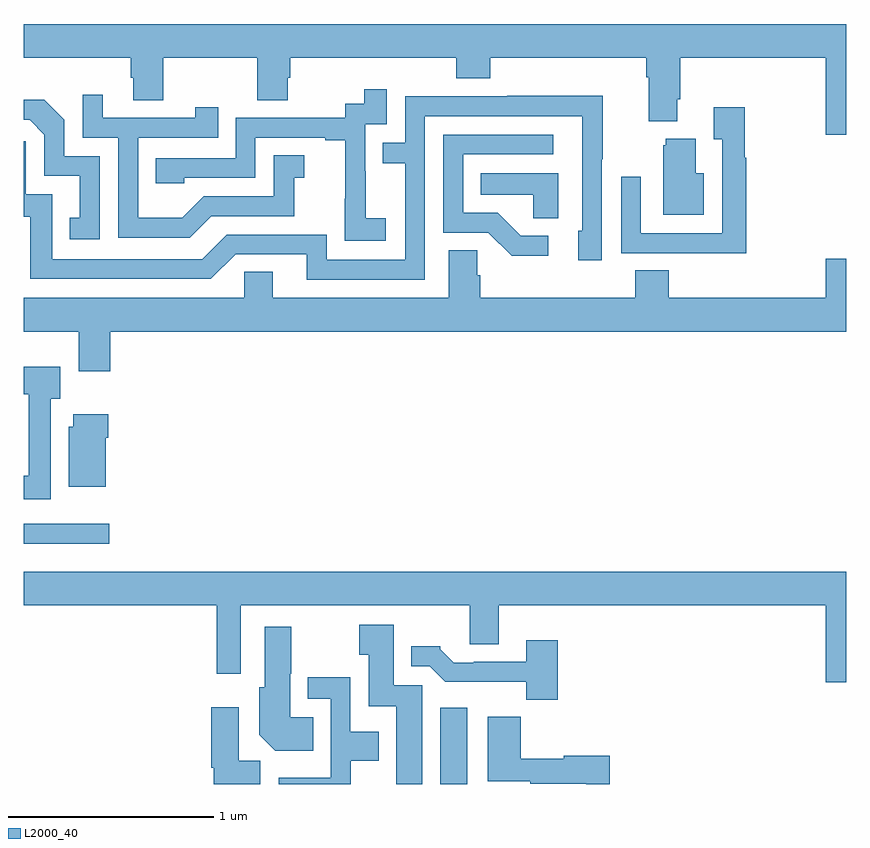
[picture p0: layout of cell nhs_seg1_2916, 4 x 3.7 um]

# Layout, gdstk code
import gdstk
lib = gdstk.Library(unit=1e-6, precision=1e-09)
def R(c, l, rs):  # rectangles x0, y0, x1, y1
    for r in rs: c.add(gdstk.rectangle(r[:2], r[2:], *l))
def P(c, l, *ps):  # polygons
    for p in ps: c.add(gdstk.Polygon(p, *l))
L2000_40 = (2000, 40)

nhs_seg1_2916 = lib.new_cell('nhs_seg1_2916')
R(nhs_seg1_2916, L2000_40, [(271.025,548.199,271.156,548.569), (269,549.368,269.416,549.465)])
P(nhs_seg1_2916, L2000_40, [(273,551.896),(269,551.896),(269,551.732),(269.519,551.732),(269.519,551.634),(269.531,551.634),(269.531,551.524),(269.679,551.524),(269.679,551.732),(270.136,551.732),(270.136,551.524),(270.283,551.524),(270.283,551.634),(270.296,551.634),(270.296,551.732),(271.103,551.732),(271.103,551.633),(271.268,551.633),(271.268,551.732),(272.027,551.732),(272.027,551.636),(272.039,551.636),(272.039,551.423),(272.179,551.423),(272.179,551.53),(272.192,551.53),(272.192,551.732),(272.9,551.732),(272.9,551.358),(273,551.358)],
  [(270.76,550.951),(270.662,550.951),(270.662,551.18),(270.66,551.18),(270.66,551.409),(270.765,551.409),(270.765,551.578),(270.657,551.578),(270.657,551.508),(270.564,551.508),(270.564,551.439),(270.03,551.439),(270.03,551.244),(269.641,551.244),(269.641,551.121),(269.781,551.121),(269.781,551.148),(270.126,551.148),(270.126,551.343),(270.467,551.343),(270.467,551.331),(270.563,551.331),(270.563,551.047),(270.562,551.047),(270.562,550.841),(270.76,550.841)],
  [(269.911,550.962),(270.315,550.962),(270.315,551.147),(270.364,551.147),(270.364,551.257),(270.216,551.257),(270.216,551.058),(269.874,551.058),(269.77,550.954),(269.556,550.954),(269.556,551.343),(269.945,551.343),(269.945,551.491),(269.834,551.491),(269.834,551.439),(269.383,551.439),(269.383,551.551),(269.286,551.551),(269.286,551.343),(269.46,551.343),(269.46,550.857),(269.806,550.857)],
  [(270.951,551.448),(271.716,551.448),(271.716,550.89),(271.697,550.89),(271.697,550.746),(271.812,550.746),(271.812,551.239),(271.815,551.239),(271.815,551.546),(271.351,551.546),(271.351,551.544),(270.855,551.544),(270.855,551.319),(270.745,551.319),(270.745,551.218),(270.855,551.218),(270.855,550.749),(270.474,550.749),(270.474,550.872),(269.988,550.872),(269.868,550.752),(269.139,550.752),(269.139,551.067),(269.01,551.067),(269.01,551.326),(269,551.326),(269,550.959),(269.031,550.959),(269.031,550.656),(269.91,550.656),(270.03,550.776),(270.377,550.776),(270.377,550.653),(270.951,550.653)],
  [(269.37,551.253),(269.196,551.253),(269.196,551.43),(269.098,551.528),(269,551.528),(269,551.43),(269.028,551.43),(269.1,551.358),(269.1,551.157),(269.273,551.157),(269.273,550.953),(269.224,550.953),(269.224,550.848),(269.37,550.848)],
  [(272.513,551.246),(272.506,551.246),(272.506,551.491),(272.357,551.491),(272.357,551.335),(272.397,551.335),(272.397,550.878),(272.001,550.878),(272.001,551.152),(271.905,551.152),(271.905,550.782),(272.221,550.782),(272.221,550.781),(272.513,550.781)],
  [(271.552,550.866),(271.417,550.866),(271.306,550.977),(271.137,550.977),(271.137,551.262),(271.576,551.262),(271.576,551.358),(271.041,551.358),(271.041,550.881),(271.26,550.881),(271.373,550.769),(271.552,550.769)],
  [(272.308,551.17),(272.269,551.17),(272.269,551.338),(272.123,551.338),(272.123,551.307),(272.111,551.307),(272.111,550.967),(272.308,550.967)],
  [(271.6,551.17),(271.222,551.17),(271.222,551.066),(271.479,551.066),(271.479,550.951),(271.6,550.951)],
  [(269.42,550.4),(273,550.4),(273,550.753),(272.9,550.753),(272.9,550.564),(272.138,550.564),(272.138,550.697),(271.973,550.697),(271.973,550.564),(271.22,550.564),(271.22,550.673),(271.206,550.673),(271.206,550.796),(271.067,550.796),(271.067,550.564),(270.211,550.564),(270.211,550.691),(270.072,550.691),(270.072,550.564),(269,550.564),(269,550.4),(269.267,550.4),(269.267,550.206),(269.42,550.206)],
  [(269.131,550.074),(269.176,550.074),(269.176,550.228),(269,550.228),(269,550.094),(269.024,550.094),(269.024,549.698),(269,549.698),(269,549.585),(269.131,549.585)],
  [(269.398,549.884),(269.411,549.884),(269.411,549.997),(269.24,549.997),(269.24,549.936),(269.219,549.936),(269.219,549.644),(269.398,549.644)],
  [(273,549.232),(269,549.232),(269,549.068),(269.938,549.068),(269.938,548.736),(270.054,548.736),(270.054,549.068),(271.169,549.068),(271.169,548.878),(271.309,548.878),(271.309,549.068),(272.9,549.068),(272.9,548.694),(273,548.694)],
  [(270.937,548.679),(270.799,548.679),(270.799,548.974),(270.631,548.974),(270.631,548.827),(270.677,548.827),(270.677,548.576),(270.812,548.576),(270.812,548.199),(270.937,548.199)],
  [(270.407,548.524),(270.295,548.524),(270.295,548.736),(270.301,548.736),(270.301,548.965),(270.173,548.965),(270.173,548.67),(270.146,548.67),(270.146,548.438),(270.224,548.36),(270.407,548.36)],
  [(271.598,548.899),(271.445,548.899),(271.445,548.793),(271.189,548.793),(271.189,548.79),(271.09,548.79),(271.026,548.854),(271.026,548.869),(270.884,548.869),(270.884,548.772),(270.975,548.772),(271.051,548.696),(271.443,548.696),(271.443,548.609),(271.598,548.609)],
  [(270.591,548.312),(270.727,548.312),(270.727,548.452),(270.588,548.452),(270.588,548.719),(270.38,548.719),(270.38,548.613),(270.492,548.613),(270.492,548.23),(270.239,548.23),(270.239,548.199),(270.591,548.199)],
  [(270.151,548.312),(270.046,548.312),(270.046,548.572),(269.912,548.572),(269.912,548.278),(269.924,548.278),(269.924,548.199),(270.151,548.199)],
  [(271.849,548.336),(271.626,548.336),(271.626,548.323),(271.418,548.323),(271.418,548.527),(271.256,548.527),(271.256,548.213),(271.464,548.213),(271.464,548.201),(271.736,548.201),(271.736,548.199),(271.849,548.199)])

lib.write_gds('nhs_seg1_2916.gds')
